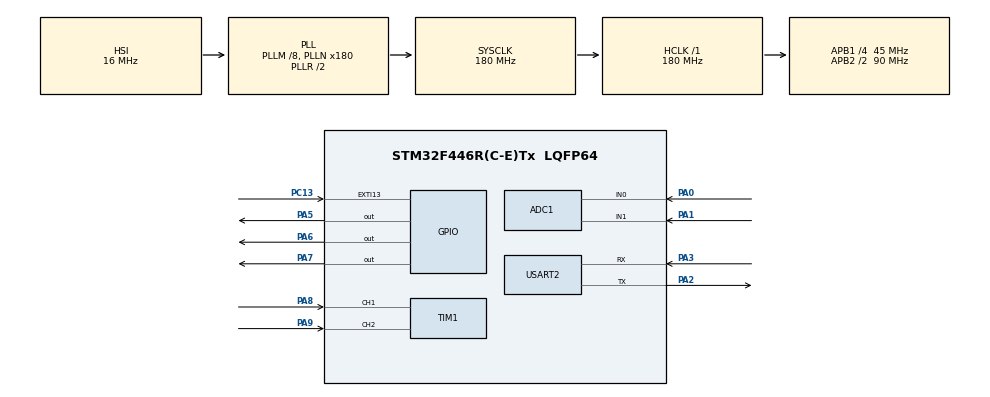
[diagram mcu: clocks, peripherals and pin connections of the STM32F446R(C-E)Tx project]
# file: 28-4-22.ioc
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ADC1.Channel-0\#ChannelRegularConversion=ADC_CHANNEL_0
ADC1.NbrOfConversionFlag=1
ADC1.Rank-0\#ChannelRegularConversion=1
ADC1.SamplingTime-0\#ChannelRegularConversion=ADC_SAMPLETIME_3CYCLES
ADC1.master=1
Mcu.Family=STM32F4
Mcu.Name=STM32F446R(C-E)Tx
Mcu.Package=LQFP64
NVIC.PriorityGroup=NVIC_PRIORITYGROUP_4
NVIC.TIM1_UP_TIM10_IRQn=true\:0\:0\:false\:false\:true\:true\:true
PA0-WKUP.Signal=ADCx_IN0
PA1.Signal=ADCx_IN1
PA13.Mode=Serial_Wire
PA13.Signal=SYS_JTMS-SWDIO
PA14.Mode=Serial_Wire
PA14.Signal=SYS_JTCK-SWCLK
PA2.Mode=Asynchronous
PA2.Signal=USART2_TX
PA3.Mode=Asynchronous
PA3.Signal=USART2_RX
PA5.Signal=GPIO_Output
PA6.Signal=GPIO_Output
PA7.Signal=GPIO_Output
PA8.Signal=S_TIM1_CH1
PA9.Signal=S_TIM1_CH2
PC13.Signal=GPXTI13
PC14-OSC32_IN.Mode=LSE-External-Oscillator
PC14-OSC32_IN.Signal=RCC_OSC32_IN
PC15-OSC32_OUT.Mode=LSE-External-Oscillator
PC15-OSC32_OUT.Signal=RCC_OSC32_OUT
PH0-OSC_IN.Mode=HSE-External-Clock-Source
PH0-OSC_IN.Signal=RCC_OSC_IN
PH1-OSC_OUT.Mode=HSE-External-Clock-Source
PH1-OSC_OUT.Signal=RCC_OSC_OUT
ProjectManager.HeapSize=0x200
ProjectManager.StackSize=0x400
ProjectManager.TargetToolchain=STM32CubeIDE
RCC.AHBFreq_Value=180000000
RCC.APB1CLKDivider=RCC_HCLK_DIV4
RCC.APB1Freq_Value=45000000
RCC.APB1TimFreq_Value=90000000
RCC.APB2CLKDivider=RCC_HCLK_DIV2
RCC.APB2Freq_Value=90000000
RCC.APB2TimFreq_Value=180000000
RCC.CortexFreq_Value=180000000
RCC.HCLKFreq_Value=180000000
RCC.HSE_VALUE=26000000
RCC.PLLM=8
RCC.PLLN=180
RCC.SYSCLKFreq_VALUE=180000000
RCC.SYSCLKSource=RCC_SYSCLKSOURCE_PLLRCLK
RCC.USBFreq_Value=180000000
RCC.VCOOutputFreq_Value=360000000
SH.ADCx_IN0.0=ADC1_IN0,IN0
SH.ADCx_IN1.0=ADC1_IN1,IN1
SH.S_TIM1_CH1.0=TIM1_CH1,Encoder_Interface
SH.S_TIM1_CH2.0=TIM1_CH2,Encoder_Interface
TIM1.EncoderMode=TIM_ENCODERMODE_TI12
TIM10.Period=100-1
TIM10.Prescaler=10-1
USART2.VirtualMode=VM_ASYNC
VP_TIM10_VS_ClockSourceINT.Mode=Enable_Timer
VP_TIM3_VS_ClockSourceINT.Mode=Internal
board=custom

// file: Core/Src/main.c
/* USER CODE BEGIN Header */
/**       28-4
  ******************************************************************************
  * @file           : main.c
  * @brief          : Main program body
  ******************************************************************************
  * @attention
  *
  * <h2><center>&copy; Copyright (c) 2022 STMicroelectronics.
  * All rights reserved.</center></h2>
  *
  * This software component is licensed by ST under BSD 3-Clause license,
  * the "License"; You may not use this file except in compliance with the
  * License. You may obtain a copy of the License at:
  *                        opensource.org/licenses/BSD-3-Clause
  *
  ******************************************************************************
  */
/* USER CODE END Header */
#include "main.h"
#include <math.h>
#include <string.h>
#include <stdio.h>

ADC_HandleTypeDef hadc1;

TIM_HandleTypeDef htim1;
TIM_HandleTypeDef htim3;
TIM_HandleTypeDef htim10;

UART_HandleTypeDef huart2;

/* USER CODE BEGIN PV */
#define pi 3.14159   //pi constant
#define presc 1
int kk;
int j, flag, send;
uint64_t aa, b, ii, qq;
float delta, dt=900000000.0, a, preva, vmax = 30.0, vmin = 0.0;
#define tau 15.0             //belt transmission ratio (R/r)
float stepsperrev = 800.0;   //steps per revolution as set on the driver

#define alpha2 0.05
#define alphay 0.01
#define alphavy 0.01
#define alphax 0.05
#define alphavenc 1.0
#define alphav 0.9
#define alphaderr 0.2

//#define f1 146.0968
//#define f2 -256.369
//#define f3 114.2722

float ctrt, err, ecum, preverr, derr, derraux;
float y, prevy, yo = -0.7, vy, vyaux, vyo=0.0,  ym, in1aux, unf, in1, in2, v, vaux, inc, p0;
float z, kp=15.0, kd=0.2;  //kp is torque loop prop gain, kd is derivative

float kv = 50.0, cv = 0.0;            //desired virtual stiffness [N*m/rad], desired virtual damping [N*m*s/rad]

#define tsamp 120.0    //sampling window duration [s]
#define fc 1000.0     //control frequency [Hz]    !!! Has to be a divisor of 20000 !!!
#define r 4          //ratio between control frequency and sampling frequency !!! Has to be a divisor of fc !!!
#define fs fc/r       //sampling frequency
#define nsamp (int)(tsamp*fs)  //number of samples that will be acquired and sent via usart
int option = 0;       //case to be executed: 0=impedance control; 1= speed imposition, 2= torque control
uint16_t rawenc;
float rawfl;
float penc, prevpenc, venc, vencaux;

float fm2, fm1, unfm1, unfm2;

//float out1[nsamp+1], out2[nsamp+1];   //output variables
char out11[20], out22[20];            //useful char arrays for usart

GPIO_PinState button, prevButton;   //button states

//torque, ref torque, ref torque signal parameters,
float c, cr, cra = 0.8, crm = 1.5, cmax = 4.0;

//chirp parameters
float fstart = 0.1, deltaf = 19.9;

uint16_t raw;  //raw signal auxiliary variable
int aaa;

/* USER CODE END PV */

void SystemClock_Config(void);
static void MX_GPIO_Init(void);
static void MX_ADC1_Init(void);
static void MX_USART2_UART_Init(void);
static void MX_TIM10_Init(void);
static void MX_TIM3_Init(void);
static void MX_TIM1_Init(void);
/* USER CODE BEGIN PFP */
static void runSpeed(float dt);
static void ADC_Select_CH0 (void);
static void ADC_Select_CH1 (void);
/* USER CODE END PFP */

int main(void)
{

  /* MCU Configuration--------------------------------------------------------*/

  /* Reset of all peripherals, Initializes the Flash interface and the Systick. */
  HAL_Init();

  /* Configure the system clock */
  SystemClock_Config();

  /* Initialize all configured peripherals */
  MX_GPIO_Init();
  MX_ADC1_Init();
  MX_USART2_UART_Init();
  MX_TIM10_Init();
  MX_TIM3_Init();
  MX_TIM1_Init();
  /* USER CODE BEGIN 2 */
  HAL_TIM_Base_Start(&htim3);  //start step timer
  HAL_TIM_Base_Start_IT(&htim10);  //start interrupt timer
  HAL_TIM_Encoder_Start(&htim1, TIM_CHANNEL_1|TIM_CHANNEL_2);  //start encoder timer

    a = __HAL_TIM_GET_COUNTER(&htim3);

    //initialize filter values (assign the raw value to the first filtered value as a first "guess"):
        	  ADC_Select_CH0();
              HAL_ADC_Start(&hadc1);
              HAL_ADC_PollForConversion(&hadc1, HAL_MAX_DELAY);
              raw = HAL_ADC_GetValue(&hadc1);
              HAL_ADC_Stop(&hadc1);
              in1 = (float)raw;
              p0 = 0; //(in1-1573.0)/1010.6;
              y = p0;

              ADC_Select_CH1();
              HAL_ADC_Start(&hadc1);
              HAL_ADC_PollForConversion(&hadc1, HAL_MAX_DELAY);
              raw = HAL_ADC_GetValue(&hadc1);
              HAL_ADC_Stop(&hadc1);
              in2 = (float)raw;
              unf = in2; fm2 = in2; fm1 = in2; unfm1= in2; unfm2= in2;
  /* USER CODE END 2 */

  /* Infinite loop */
  while (1)
  {
	  runSpeed(dt);

	  //send out selected variables via usart
	  if(send){
		  if(flag%r==0){
			  //sprintf(out22, "%3f\t",((float)in1/4096.0*3.3-2.5)*4.0*5.65/5.0);
			  //sprintf(out22, "%3f\t",(float)in1/4096.0*3.3);
			  //sprintf(out22, "%4f\t",cr);
			  sprintf(out22, "%3f\t",((float)in2-2224.0)*-0.008);
			  HAL_UART_Transmit(&huart2, out22, strlen((char*)out22), HAL_MAX_DELAY);
		  }
		  else if(flag%r==r/2){
			  //sprintf(out22, "%3f\r\n",(float)in1/4096.0*3.3);
			  //sprintf(out22, "%3f\r\n",((float)in2-2224.0)*-0.008);
			  //sprintf(out22, "%3f\r\n",penc*10.0);
			  //sprintf(out22, "%4f\r\n",yo-y);
			  sprintf(out22, "%3f\r\n",vy);
			  //sprintf(out22, "%4f\r\n",cr);
			  HAL_UART_Transmit(&huart2, out22, strlen((char*)out22), HAL_MAX_DELAY);
		  }
		  send=0;
	  }

  }
}

void SystemClock_Config(void)
{
  RCC_OscInitTypeDef RCC_OscInitStruct = {0};
  RCC_ClkInitTypeDef RCC_ClkInitStruct = {0};

  /** Configure the main internal regulator output voltage
  */
  __HAL_RCC_PWR_CLK_ENABLE();
  __HAL_PWR_VOLTAGESCALING_CONFIG(PWR_REGULATOR_VOLTAGE_SCALE1);
  /** Initializes the RCC Oscillators according to the specified parameters
  * in the RCC_OscInitTypeDef structure.
  */
  RCC_OscInitStruct.OscillatorType = RCC_OSCILLATORTYPE_HSI;
  RCC_OscInitStruct.HSIState = RCC_HSI_ON;
  RCC_OscInitStruct.HSICalibrationValue = RCC_HSICALIBRATION_DEFAULT;
  RCC_OscInitStruct.PLL.PLLState = RCC_PLL_ON;
  RCC_OscInitStruct.PLL.PLLSource = RCC_PLLSOURCE_HSI;
  RCC_OscInitStruct.PLL.PLLM = 8;
  RCC_OscInitStruct.PLL.PLLN = 180;
  RCC_OscInitStruct.PLL.PLLP = RCC_PLLP_DIV2;
  RCC_OscInitStruct.PLL.PLLQ = 2;
  RCC_OscInitStruct.PLL.PLLR = 2;
  if (HAL_RCC_OscConfig(&RCC_OscInitStruct) != HAL_OK)
  {
    Error_Handler();
  }
  /** Activate the Over-Drive mode
  */
  if (HAL_PWREx_EnableOverDrive() != HAL_OK)
  {
    Error_Handler();
  }
  /** Initializes the CPU, AHB and APB buses clocks
  */
  RCC_ClkInitStruct.ClockType = RCC_CLOCKTYPE_HCLK|RCC_CLOCKTYPE_SYSCLK
                              |RCC_CLOCKTYPE_PCLK1|RCC_CLOCKTYPE_PCLK2;
  RCC_ClkInitStruct.SYSCLKSource = RCC_SYSCLKSOURCE_PLLRCLK;
  RCC_ClkInitStruct.AHBCLKDivider = RCC_SYSCLK_DIV1;
  RCC_ClkInitStruct.APB1CLKDivider = RCC_HCLK_DIV4;
  RCC_ClkInitStruct.APB2CLKDivider = RCC_HCLK_DIV2;

  if (HAL_RCC_ClockConfig(&RCC_ClkInitStruct, FLASH_LATENCY_5) != HAL_OK)
  {
    Error_Handler();
  }
}

static void MX_ADC1_Init(void)
{

  ADC_ChannelConfTypeDef sConfig = {0};

  /** Configure the global features of the ADC (Clock, Resolution, Data Alignment and number of conversion)
  */
  hadc1.Instance = ADC1;
  hadc1.Init.ClockPrescaler = ADC_CLOCK_SYNC_PCLK_DIV4;
  hadc1.Init.Resolution = ADC_RESOLUTION_12B;
  hadc1.Init.ScanConvMode = DISABLE;
  hadc1.Init.ContinuousConvMode = DISABLE;
  hadc1.Init.DiscontinuousConvMode = DISABLE;
  hadc1.Init.ExternalTrigConvEdge = ADC_EXTERNALTRIGCONVEDGE_NONE;
  hadc1.Init.ExternalTrigConv = ADC_SOFTWARE_START;
  hadc1.Init.DataAlign = ADC_DATAALIGN_RIGHT;
  hadc1.Init.NbrOfConversion = 1;
  hadc1.Init.DMAContinuousRequests = DISABLE;
  hadc1.Init.EOCSelection = ADC_EOC_SINGLE_CONV;
  if (HAL_ADC_Init(&hadc1) != HAL_OK)
  {
    Error_Handler();
  }
  /** Configure for the selected ADC regular channel its corresponding rank in the sequencer and its sample time.
  */
  sConfig.Channel = ADC_CHANNEL_0;
  sConfig.Rank = 1;
  sConfig.SamplingTime = ADC_SAMPLETIME_3CYCLES;
  if (HAL_ADC_ConfigChannel(&hadc1, &sConfig) != HAL_OK)
  {
    Error_Handler();
  }

}

static void MX_TIM1_Init(void)
{

  TIM_Encoder_InitTypeDef sConfig = {0};
  TIM_MasterConfigTypeDef sMasterConfig = {0};

  htim1.Instance = TIM1;
  htim1.Init.Prescaler = 0;
  htim1.Init.CounterMode = TIM_COUNTERMODE_UP;
  htim1.Init.Period = 65535;
  htim1.Init.ClockDivision = TIM_CLOCKDIVISION_DIV1;
  htim1.Init.RepetitionCounter = 0;
  htim1.Init.AutoReloadPreload = TIM_AUTORELOAD_PRELOAD_DISABLE;
  sConfig.EncoderMode = TIM_ENCODERMODE_TI12;
  sConfig.IC1Polarity = TIM_ICPOLARITY_RISING;
  sConfig.IC1Selection = TIM_ICSELECTION_DIRECTTI;
  sConfig.IC1Prescaler = TIM_ICPSC_DIV1;
  sConfig.IC1Filter = 10;
  sConfig.IC2Polarity = TIM_ICPOLARITY_RISING;
  sConfig.IC2Selection = TIM_ICSELECTION_DIRECTTI;
  sConfig.IC2Prescaler = TIM_ICPSC_DIV1;
  sConfig.IC2Filter = 10;
  if (HAL_TIM_Encoder_Init(&htim1, &sConfig) != HAL_OK)
  {
    Error_Handler();
  }
  sMasterConfig.MasterOutputTrigger = TIM_TRGO_RESET;
  sMasterConfig.MasterSlaveMode = TIM_MASTERSLAVEMODE_DISABLE;
  if (HAL_TIMEx_MasterConfigSynchronization(&htim1, &sMasterConfig) != HAL_OK)
  {
    Error_Handler();
  }

}

static void MX_TIM3_Init(void)
{

  TIM_ClockConfigTypeDef sClockSourceConfig = {0};
  TIM_MasterConfigTypeDef sMasterConfig = {0};

  htim3.Instance = TIM3;
  htim3.Init.Prescaler = presc-1;
  htim3.Init.CounterMode = TIM_COUNTERMODE_UP;
  htim3.Init.Period = 65535;
  htim3.Init.ClockDivision = TIM_CLOCKDIVISION_DIV1;
  htim3.Init.AutoReloadPreload = TIM_AUTORELOAD_PRELOAD_DISABLE;
  if (HAL_TIM_Base_Init(&htim3) != HAL_OK)
  {
    Error_Handler();
  }
  sClockSourceConfig.ClockSource = TIM_CLOCKSOURCE_INTERNAL;
  if (HAL_TIM_ConfigClockSource(&htim3, &sClockSourceConfig) != HAL_OK)
  {
    Error_Handler();
  }
  sMasterConfig.MasterOutputTrigger = TIM_TRGO_RESET;
  sMasterConfig.MasterSlaveMode = TIM_MASTERSLAVEMODE_DISABLE;
  if (HAL_TIMEx_MasterConfigSynchronization(&htim3, &sMasterConfig) != HAL_OK)
  {
    Error_Handler();
  }

}

static void MX_TIM10_Init(void)
{

  htim10.Instance = TIM10;
  htim10.Init.Prescaler =  9000-1;
  htim10.Init.CounterMode = TIM_COUNTERMODE_UP;
  htim10.Init.Period = 20000.0/fc-1;
  htim10.Init.ClockDivision = TIM_CLOCKDIVISION_DIV1;
  htim10.Init.AutoReloadPreload = TIM_AUTORELOAD_PRELOAD_DISABLE;
  if (HAL_TIM_Base_Init(&htim10) != HAL_OK)
  {
    Error_Handler();
  }

}

static void MX_USART2_UART_Init(void)
{

  huart2.Instance = USART2;
  huart2.Init.BaudRate = 1000000;
  huart2.Init.WordLength = UART_WORDLENGTH_8B;
  huart2.Init.StopBits = UART_STOPBITS_1;
  huart2.Init.Parity = UART_PARITY_NONE;
  huart2.Init.Mode = UART_MODE_TX_RX;
  huart2.Init.HwFlowCtl = UART_HWCONTROL_NONE;
  huart2.Init.OverSampling = UART_OVERSAMPLING_16;
  if (HAL_UART_Init(&huart2) != HAL_OK)
  {
    Error_Handler();
  }

}

static void MX_GPIO_Init(void)
{
  GPIO_InitTypeDef GPIO_InitStruct = {0};

  /* GPIO Ports Clock Enable */
  __HAL_RCC_GPIOC_CLK_ENABLE();
  __HAL_RCC_GPIOH_CLK_ENABLE();
  __HAL_RCC_GPIOA_CLK_ENABLE();

  /*Configure GPIO pin Output Level */
  HAL_GPIO_WritePin(GPIOA, GPIO_PIN_5|GPIO_PIN_6|GPIO_PIN_7, GPIO_PIN_RESET);

  /*Configure GPIO pin : PC13 */
  GPIO_InitStruct.Pin = GPIO_PIN_13;
  GPIO_InitStruct.Mode = GPIO_MODE_IT_RISING;
  GPIO_InitStruct.Pull = GPIO_NOPULL;
  HAL_GPIO_Init(GPIOC, &GPIO_InitStruct);

  /*Configure GPIO pins : PA5 PA6 PA7 */
  GPIO_InitStruct.Pin = GPIO_PIN_5|GPIO_PIN_6|GPIO_PIN_7;
  GPIO_InitStruct.Mode = GPIO_MODE_OUTPUT_PP;
  GPIO_InitStruct.Pull = GPIO_NOPULL;
  GPIO_InitStruct.Speed = GPIO_SPEED_FREQ_LOW;
  HAL_GPIO_Init(GPIOA, &GPIO_InitStruct);

}

/* USER CODE BEGIN 4 */
void HAL_TIM_PeriodElapsedCallback(TIM_HandleTypeDef *htim)   //function called by the interrupt (sample-update routine)
{ qq++;

	//HAL_GPIO_WritePin(GPIOA, GPIO_PIN_6, GPIO_PIN_SET);
switch (option)
{ qq++;

case 0:
//impedance control /////////////////////////////////////////////////////////////////////////////////////////////////////////////
	//button pressing
		    button = HAL_GPIO_ReadPin(GPIOC, GPIO_PIN_13);
		    if ((button!=prevButton)&&(button==1)){aaa=!aaa;}
		    prevButton = button;

	//do everything only if button has been pressed
		    if(!aaa){

	//read position channel from ADC and update in1aux
		    ADC_Select_CH0();
	        HAL_ADC_Start(&hadc1);
	        HAL_ADC_PollForConversion(&hadc1, HAL_MAX_DELAY);
	        raw = HAL_ADC_GetValue(&hadc1);
	        HAL_ADC_Stop(&hadc1);
	        in1aux = (float)raw;

	//read POT channel from ADC and update in2aux
	        ADC_Select_CH1();
	        HAL_ADC_Start(&hadc1);
	        HAL_ADC_PollForConversion(&hadc1, HAL_MAX_DELAY);
	        raw = HAL_ADC_GetValue(&hadc1);
	        HAL_ADC_Stop(&hadc1);
            unf = (float)raw;

    //read position from encoder
           rawenc = TIM1->CNT;
           if (rawenc>40000) {penc = p0+((rawenc-65536)/4000.0/tau*2*pi);}
           else {penc = p0+(rawenc/4000.0/tau*2*pi);}

	 //filtering
	        in1 = in1aux*alphay + in1*(1-alphay);
	        in2 = unf*alpha2 + in2*(1-alpha2);
	        //in2 = (unf + 2.0*unfm1 + unfm2 - f2*fm1 - f3*fm2)/f1;
	        //unfm1 = unf;
	        //unfm2 = unfm1;
	        //fm1 = in2;
	        //fm2 = fm1;

	//conversion to physical units
	        y = (in1-1573.0)/1010.6;        //y angle [rad]
	        vyaux = (y-prevy)*fc;              //y velocity [rad/s]
	        vy = vyaux*alphavy + vy*(1-alphavy);
	        prevy = y;

	        c = -((float)in2-2224.0)*0.008;                        //torque read from POT[Nm]

	       if((c>=cmax)||(c<=-1.0*cmax)) {HAL_GPIO_WritePin(GPIOA, GPIO_PIN_7, GPIO_PIN_SET);} //limit torque

   //torque reference

            cr = kv*(yo-y) + cv*(vyo-vy);

	 //torque control: compute speed on base of torque error and its derivative
            err = cr-c;
            derraux = (err-preverr)*fc; //torque error derivative
            derr = derraux*alphaderr + (1-alphaderr)*derr;
            preverr = err;
            if((err<0.2)&&(err>-0.0)) {v=0.0;}  //error dead band
            else {v = kp*err + kd*derr;}     //speed in rad/s at motor side (x DOF)

            if(v>=vmax) {v = vmax;}                         //to deal with saturation
            else if(v<=-1.0*vmax) {v=-1.0*vmax;}            //to deal with saturation
            else if((v>=-1.0*vmin)&&(v<=vmin)) {v = 0.0;}   //to avoid vibrations (speed dead-band)

//read position from encoder
	        //rawenc = TIM1->CNT;
	        //rawfl = (float)rawenc;
	        //if (rawenc>40000) {penc = p0+((rawenc-65536)/4000.0/tau*2*pi);}
	        //else {penc = p0+(rawenc/4000.0/tau*2*pi);}

	        //compute speed from encoder and filter it [rad/s]
	        //vencaux = (penc-prevpenc)*fc;
	        //venc = vencaux*alphavenc + venc*(1-alphavenc);
	        //prevpenc = penc;

	        //compute step time interval in clock pulses, terms in brackets are needed to pass from rad/s to steps/s
			dt = 90000000.0/(v/2.0/pi*stepsperrev);

	//update routine counter
			kk++;

			flag++; //flag on the data sending
			send = 1;
			if(kk>fc*tsamp){send = 0; v = 0;}

		    }
	break;

case 1:
//speed imposition ///////////////////////////////////////////////////////////////////////////////////////////////////////////
	//button pressing
		    button = HAL_GPIO_ReadPin(GPIOC, GPIO_PIN_13);
		    if ((button!=prevButton)&&(button==1)){aaa=!aaa;}
		    prevButton = button;

	//do everything only if button has been pressed
		    if(!aaa){

	//read position channel from ADC and update in1aux
		    ADC_Select_CH0();
	        HAL_ADC_Start(&hadc1);
	        HAL_ADC_PollForConversion(&hadc1, HAL_MAX_DELAY);
	        raw = HAL_ADC_GetValue(&hadc1);
	        HAL_ADC_Stop(&hadc1);
	        in1aux = (float)raw;

	//read torque channel from ADC and update in2aux
	        ADC_Select_CH1();
	        HAL_ADC_Start(&hadc1);
	        HAL_ADC_PollForConversion(&hadc1, HAL_MAX_DELAY);
	        raw = HAL_ADC_GetValue(&hadc1);
	        HAL_ADC_Stop(&hadc1);
            unf = (float)raw;

	 //filtering
	        in1 = in1aux*alphay + in1*(1-alphay);
	        in2 = unf*alphay + in2*(1-alphay);
	        //in2 = (unf + 2.0*unfm1 + unfm2 - f2*fm1 - f3*fm2)/f1;
	        //unfm1 = unf;
	        //unfm2 = unfm1;
	        //fm1 = in2;
	        //fm2 = fm1;

	//conversion to physical units
	        y = (in1-1573.0)/1010.6;        //y angle [rad]
	        //d = (in2-2230.0)/15168.0;       //relative angle [rad]
	        //c = -d*130.5;                   //torque [Nm]
	        if((c>=cmax)||(c<=-1.0*cmax)) {HAL_GPIO_WritePin(GPIOA, GPIO_PIN_7, GPIO_PIN_SET);} //limit torque
	        z = y;                       //z angle [rad]

	//speed signal generation [rad/s]
            //v = 10.0;
	        //v =  cra*sin(2*pi*(1/fc*kk*fstart + deltaf/2.0/tsamp*kk/fc*kk/fc));   //chirp
	        //v = cra*sin(2*pi*0.5*kk/fc);
	        //if(kk<=500) v = 0.08*kk;
	        //else {v = 40-0.08*(kk-500);}
	        //v = 0.002*kk;
            //v = 1.0*v;

	        //if(v>=vmax) {v = vmax;}                         //to deal with saturation
	        //else if(v<=-1.0*vmax) {v=-1.0*vmax;}            //to deal with saturation
	        //else if((v>=-1.0*vmin)&&(v<=vmin)) {v = 0.0;}   //to avoid vibrations (speed dead-band)

//read position from encoder
	        rawenc = TIM1->CNT;
	        rawfl = (float)rawenc;
	        if (rawenc>40000) {penc = p0+((rawenc-65536)/4000.0/tau*2*pi);}
	        else {penc = p0+(rawenc/4000.0/tau*2*pi);}

	        //compute speed from encoder and filter it [rad/s]
	        vencaux = (penc-prevpenc)*fc;
	        venc = vencaux*alphavenc + venc*(1-alphavenc);
	        prevpenc = penc;

//save into output variables
	        //out1[kk/r] = v;
	        //out2[kk/r] = venc*tau;

	        //compute step time interval in clock pulses, terms in brackets are needed to pass from rad/s to steps/s
			dt = 90000000.0/(v/2.0/pi*stepsperrev);

	//update routine counter
			kk++;

			flag++; //flag on the data sending
			send = 1;

			//send the output arrays via usart to PC if test has ended
					if(kk>fc*tsamp){send = 0; v = 0;}
						//for(int uu=1; uu<=nsamp; uu++){
						  //sprintf(out11, "%.4f,",out1[uu]);
						  //HAL_UART_Transmit(&huart2, out11, strlen((char*)out11), HAL_MAX_DELAY);
						  //sprintf(out22, "%.3f\r\n",venc);
						  //HAL_UART_Transmit(&huart2, out22, strlen((char*)out22), HAL_MAX_DELAY);
						  //}  HAL_UART_Transmit(&huart2, "a", 1, HAL_MAX_DELAY);
					    //}
		    }
	break;

case 2:
//torque control/////////////////////////////////////////////////////////////////////////////////////////////////////////////
	//button pressing
		    button = HAL_GPIO_ReadPin(GPIOC, GPIO_PIN_13);
		    if ((button!=prevButton)&&(button==1)){aaa=!aaa;}
		    prevButton = button;

	//do everything only if button has been pressed
		    if(!aaa){

	//read TRT channel from ADC and update in1aux
		    ADC_Select_CH0();
	        HAL_ADC_Start(&hadc1);
	        HAL_ADC_PollForConversion(&hadc1, HAL_MAX_DELAY);
	        raw = HAL_ADC_GetValue(&hadc1);
	        HAL_ADC_Stop(&hadc1);
	        in1aux = (float)raw;

	//read POT channel from ADC and update in2aux
	        ADC_Select_CH1();
	        HAL_ADC_Start(&hadc1);
	        HAL_ADC_PollForConversion(&hadc1, HAL_MAX_DELAY);
	        raw = HAL_ADC_GetValue(&hadc1);
	        HAL_ADC_Stop(&hadc1);
            unf = (float)raw;

    //read position from encoder
           rawenc = TIM1->CNT;
           if (rawenc>40000) {penc = p0+((rawenc-65536)/4000.0/tau*2*pi);}
           else {penc = p0+(rawenc/4000.0/tau*2*pi);}

	 //filtering
	        in1 = in1aux*alphax + in1*(1-alphax);
	        in2 = unf*alpha2 + in2*(1-alpha2);
	        //in2 = (unf + 2.0*unfm1 + unfm2 - f2*fm1 - f3*fm2)/f1;
	        //unfm1 = unf;
	        //unfm2 = unfm1;
	        //fm1 = in2;
	        //fm2 = fm1;

	//conversion to physical units
	        //y = (in1-1573.0)/1010.6;        //y angle [rad]
	        //d = (in2-2230.0)/15168.0;       //relative angle [rad]
	        ctrt = (in1/4096.0*3.3-2.5)*4.0*5.65/5.0;  //torque read from TRT[Nm]
	        c = -((float)in2-2224.0)*0.008;                        //torque read from POT[Nm]

	       if((c>=cmax)||(c<=-1.0*cmax)) {HAL_GPIO_WritePin(GPIOA, GPIO_PIN_7, GPIO_PIN_SET);} //limit torque

   //torque reference: uncomment to have direct torque control
	        //cr =  crm + cra*sin(2*pi*(1/fc*kk*fstart + deltaf/2.0/tsamp*kk/fc*kk/fc));  //chirp
            cr = 0.0;   //static reference
            /*if(kk<4000) {cr = -0.5;}
            else if ((kk>=4000)&&(kk<8000)) {cr = -2.0;}
            else if ((kk>=8000)&&(kk<12000)) {cr = -0.5;}
            else if ((kk>=12000)&&(kk<16000)) {cr = -2.0;}
            else if ((kk>=16000)&&(kk<20000)) {cr = -0.5;}
            else if ((kk>=20000)&&(kk<24000)) {cr = -2.0;}
            else if ((kk>=24000)&&(kk<28000)) {cr = -0.5;}
            else if ((kk>=28000)&&(kk<32000)) {cr = -2.0;}
            else {cr = -0.5;}*/

    //impedance control: compute torque reference based on position error (uncomment to have imp. control)
            //..........

	 //torque control: compute speed on base of torque error and its derivative
            err = cr-c;
            derraux = (err-preverr)*fc; //torque error derivative
            derr = derraux*alphaderr + (1-alphaderr)*derr;
            preverr = err;
            if((err<0.2)&&(err>-0.2)) {v=0.0;}  //error dead band
            else {v = kp*err + kd*derr;}     //speed in rad/s at motor side (x DOF)
            //vaux = kp*err + kd*derr;
            //v = vaux*alphav + (1-alphav)*v;

            if(v>=vmax) {v = vmax;}                         //to deal with saturation
            else if(v<=-1.0*vmax) {v=-1.0*vmax;}            //to deal with saturation
            else if((v>=-1.0*vmin)&&(v<=vmin)) {v = 0.0;}   //to avoid vibrations (speed dead-band)

//read position from encoder
	        //rawenc = TIM1->CNT;
	        //rawfl = (float)rawenc;
	        //if (rawenc>40000) {penc = p0+((rawenc-65536)/4000.0/tau*2*pi);}
	        //else {penc = p0+(rawenc/4000.0/tau*2*pi);}

	        //compute speed from encoder and filter it [rad/s]
	        //vencaux = (penc-prevpenc)*fc;
	        //venc = vencaux*alphavenc + venc*(1-alphavenc);
	        //prevpenc = penc;

	        //compute step time interval in clock pulses, terms in brackets are needed to pass from rad/s to steps/s
			dt = 90000000.0/(v/2.0/pi*stepsperrev);

	//update routine counter
			kk++;

			flag++; //flag on the data sending
			send = 1;
			if(kk>fc*tsamp){send = 0; v = 0;}

		    }
	break;
} //close switch

}

void runSpeed(float dt)     //function to take (half) a step
{
	        a = __HAL_TIM_GET_COUNTER(&htim3);
	        if (a<preva) {ii++;}

	        aa = 65536*ii + a;
	        preva = a;
		  	delta = aa-b;                        //time since last (half) step

		  	if (dt<0.0){HAL_GPIO_WritePin(GPIOA, GPIO_PIN_6, GPIO_PIN_SET); dt = -1.0*dt; inc = -0.5;}
		  	else{HAL_GPIO_WritePin(GPIOA, GPIO_PIN_6, GPIO_PIN_RESET); inc = 0.5;}

		  	  	   	if (delta >= dt/2.0)
		  	  	   	{
		  	  	   		HAL_GPIO_TogglePin(GPIOA, GPIO_PIN_5);    //take (half) a step if it is due
		  	  	   	    b = aa;
		  	  	   	    //xsteps = xsteps + inc;            //update position estimated with steps
		  	  	   	}

}

void ADC_Select_CH0 (void)
{
	ADC_ChannelConfTypeDef sConfig = {0};
	  /** Configure for the selected ADC regular channel its corresponding rank in the sequencer and its sample time.
	  */
	  sConfig.Channel = ADC_CHANNEL_0;
	  sConfig.Rank = 1;
	  sConfig.SamplingTime = ADC_SAMPLETIME_28CYCLES;
	  if (HAL_ADC_ConfigChannel(&hadc1, &sConfig) != HAL_OK)
	  {
	    Error_Handler();
	  }
}

void ADC_Select_CH1 (void)
{
	ADC_ChannelConfTypeDef sConfig = {0};
	  /** Configure for the selected ADC regular channel its corresponding rank in the sequencer and its sample time.
	  */
	  sConfig.Channel = ADC_CHANNEL_1;
	  sConfig.Rank = 1;
	  sConfig.SamplingTime = ADC_SAMPLETIME_84CYCLES;
	  if (HAL_ADC_ConfigChannel(&hadc1, &sConfig) != HAL_OK)
	  {
	    Error_Handler();
	  }
}
/* USER CODE END 4 */

void Error_Handler(void)
{
  __disable_irq();
  while (1)
  {
  }
}

/************************ (C) COPYRIGHT STMicroelectronics *****END OF FILE****/
